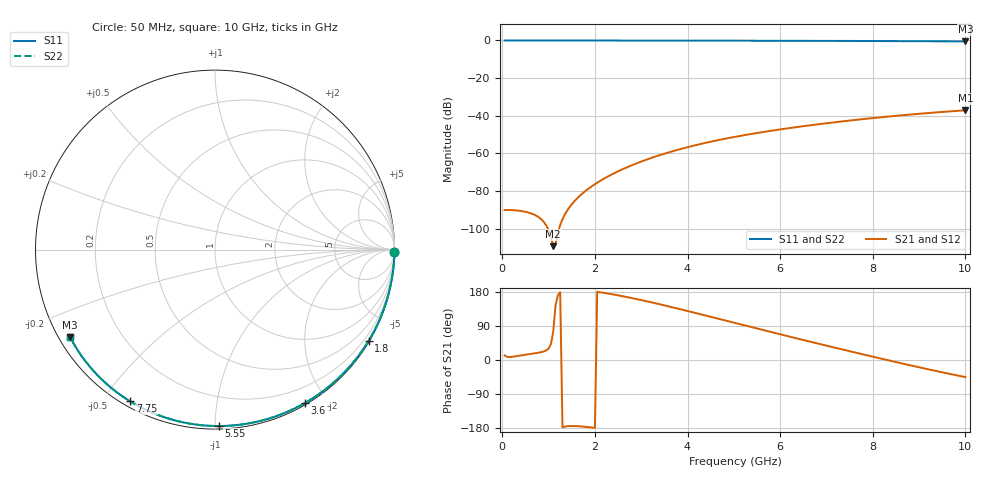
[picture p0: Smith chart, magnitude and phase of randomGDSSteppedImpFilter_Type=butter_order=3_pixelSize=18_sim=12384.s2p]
! freq	dB(S11)	phase(S11)	dB(S12)	phase(S12)
!  dB(S21)	phase(S21)	dB(S22)	phase(S22)
!S-par simulation data
#  GHz  S  DB  R 50
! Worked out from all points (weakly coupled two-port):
!   200 points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, 50 MHz to 10 GHz, reference 50 ohm
!   highest |S21| = -37.06 dB at 10 GHz (marker M1); lowest = -109.2 dB at 1.1 GHz (marker M2)
!   lowest |S11| = -0.5 dB at 10 GHz (marker M3), VSWR 34.05, Z = 1.58 - j13.9 ohm
!   |S11| at or under -10 dB: nowhere
!   |S22| runs from -0.5 to 0.0 dB; largest |S21 - S12| = 0
!   S11 on the Smith chart (normalised r, x): 50 MHz: open; 1.8 GHz: 0.03, -3.65; 3.6 GHz: 0.02, -1.74; 5.55 GHz: 0.02, -1.02; 7.75 GHz: 0.02, -0.59; 10 GHz: 0.03, -0.28
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0.05  -0.00 -0.9  -90.06 12.3  -90.06 12.3  -0.00 -0.9
0.55  -0.01 -9.5  -91.24 14.8  -91.24 14.8  -0.01 -9.5
1.1  -0.02 -18.9  -109.19 74.7  -109.19 74.7  -0.02 -18.9
1.75  -0.04 -29.8  -80.81 -175.7  -80.81 -175.7  -0.04 -29.8
1.8  -0.04 -30.6  -79.81 -176.3  -79.81 -176.3  -0.04 -30.6
1.95  -0.04 -33.1  -77.10 -178.5  -77.10 -178.5  -0.04 -33.1
2.1  -0.05 -35.6  -74.74 179.0  -74.74 179.0  -0.05 -35.6
2.3  -0.05 -38.9  -71.94 175.0  -71.94 175.0  -0.05 -38.9
2.5  -0.05 -42.1  -69.47 170.6  -69.47 170.6  -0.05 -42.2
2.9  -0.06 -48.6  -65.22 160.8  -65.22 160.8  -0.06 -48.6
3.4  -0.08 -56.6  -60.87 147.1  -60.87 147.1  -0.08 -56.6
3.6  -0.08 -59.7  -59.36 141.3  -59.36 141.3  -0.08 -59.7
3.9  -0.09 -64.3  -57.29 132.3  -57.29 132.3  -0.09 -64.3
4.3  -0.10 -70.4  -54.85 120.1  -54.85 120.1  -0.10 -70.4
5.05  -0.13 -81.6  -51.04 96.9  -51.04 96.9  -0.13 -81.6
5.55  -0.15 -88.9  -48.92 81.5  -48.92 81.5  -0.15 -88.9
6.1  -0.17 -96.7  -46.86 64.7  -46.86 64.7  -0.17 -96.7
6.7  -0.21 -105.0  -44.86 46.7  -44.86 46.7  -0.21 -105.0
7.75  -0.28 -119.2  -41.84 15.9  -41.84 15.9  -0.28 -119.2
8.35  -0.33 -127.2  -40.35 -1.2  -40.35 -1.2  -0.33 -127.2
9.2  -0.41 -138.4  -38.51 -24.6  -38.51 -24.6  -0.41 -138.4
10  -0.51 -149.0  -37.06 -45.1  -37.06 -45.1  -0.51 -149.0
